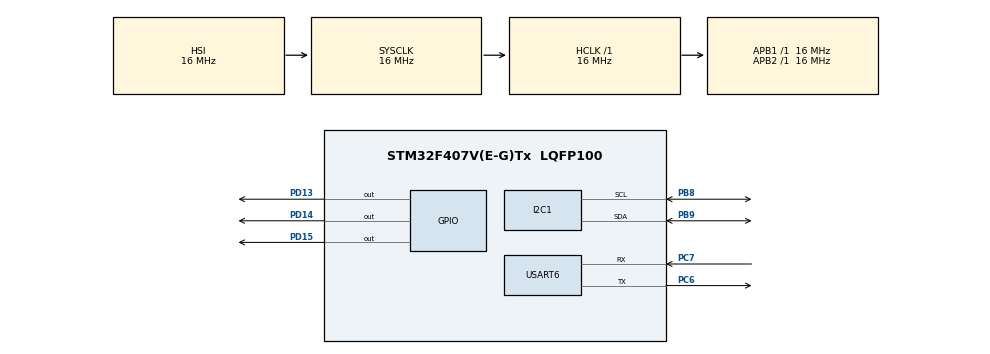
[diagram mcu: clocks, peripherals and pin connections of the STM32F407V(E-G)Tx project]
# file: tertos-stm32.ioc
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FREERTOS.Queues01=userInputQueue,16,uint16_t,0,Dynamic,NULL,NULL
FREERTOS.Tasks01=Task_UserInput,0,128,StartTaskUserInput,Default,NULL,Dynamic,NULL,NULL;Task_Game,0,512,StartTaskGame,Default,NULL,Dynamic,NULL,NULL
FREERTOS.configENABLE_BACKWARD_COMPATIBILITY=0
FREERTOS.configGENERATE_RUN_TIME_STATS=1
FREERTOS.configUSE_STATS_FORMATTING_FUNCTIONS=1
FREERTOS.configUSE_TRACE_FACILITY=1
Mcu.Family=STM32F4
Mcu.Name=STM32F407V(E-G)Tx
Mcu.Package=LQFP100
NVIC.PriorityGroup=NVIC_PRIORITYGROUP_4
NVIC.TIM1_UP_TIM10_IRQn=true\:0\:0\:false\:false\:true\:false\:false\:true\:true
NVIC.TimeBase=TIM1_UP_TIM10_IRQn
NVIC.TimeBaseIP=TIM1
PA13.Mode=JTAG_5_pins
PA13.Signal=SYS_JTMS-SWDIO
PA14.Mode=JTAG_5_pins
PA14.Signal=SYS_JTCK-SWCLK
PA15.Mode=JTAG_5_pins
PA15.Signal=SYS_JTDI
PB3.Mode=JTAG_5_pins
PB3.Signal=SYS_JTDO-SWO
PB4.Mode=JTAG_5_pins
PB4.Signal=SYS_JTRST
PB8.GPIO_Pu=GPIO_PULLUP
PB8.Mode=I2C
PB8.Signal=I2C1_SCL
PB9.GPIO_Pu=GPIO_PULLUP
PB9.Mode=I2C
PB9.Signal=I2C1_SDA
PC6.Mode=Asynchronous
PC6.Signal=USART6_TX
PC7.Mode=Asynchronous
PC7.Signal=USART6_RX
PD13.Signal=GPIO_Output
PD14.Signal=GPIO_Output
PD15.Signal=GPIO_Output
PH0-OSC_IN.Mode=HSE-External-Oscillator
PH0-OSC_IN.Signal=RCC_OSC_IN
PH1-OSC_OUT.Mode=HSE-External-Oscillator
PH1-OSC_OUT.Signal=RCC_OSC_OUT
ProjectManager.HeapSize=0x200
ProjectManager.StackSize=0x400
ProjectManager.TargetToolchain=CMake
RCC.AHBFreq_Value=16000000
RCC.APB1Freq_Value=16000000
RCC.APB2Freq_Value=16000000
RCC.CortexFreq_Value=16000000
RCC.HSE_VALUE=25000000
RCC.HSI_VALUE=16000000
RCC.LSE_VALUE=32768
RCC.SYSCLKFreq_VALUE=16000000
RCC.VCOOutputFreq_Value=192000000
USART6.VirtualMode=VM_ASYNC
VP_FREERTOS_VS_CMSIS_V1.Mode=CMSIS_V1
VP_SYS_VS_tim1.Mode=TIM1
board=custom

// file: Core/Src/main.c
/* USER CODE BEGIN Header */
/**
  ******************************************************************************
  * @file           : main.c
  * @brief          : Main program body
  ******************************************************************************
  * @attention
  *
  * Copyright (c) 2026 STMicroelectronics.
  * All rights reserved.
  *
  * This software is licensed under terms that can be found in the LICENSE file
  * in the root directory of this software component.
  * If no LICENSE file comes with this software, it is provided AS-IS.
  *
  ******************************************************************************
  */
/* USER CODE END Header */
#include "main.h"
#include "cmsis_os.h"
#include "i2c.h"
#include "usart.h"
#include "gpio.h"

void SystemClock_Config(void);
void MX_FREERTOS_Init(void);

int main(void)
{

  /* MCU Configuration--------------------------------------------------------*/

  /* Reset of all peripherals, Initializes the Flash interface and the Systick. */
  HAL_Init();

  /* Configure the system clock */
  SystemClock_Config();

  /* Initialize all configured peripherals */
  MX_GPIO_Init();
  MX_I2C1_Init();
  MX_USART6_UART_Init();

  /* Call init function for freertos objects (in cmsis_os2.c) */
  MX_FREERTOS_Init();

  /* Start scheduler */
  osKernelStart();

  /* We should never get here as control is now taken by the scheduler */

  /* Infinite loop */
  while (1)
  {

  }
}

void SystemClock_Config(void)
{
  RCC_OscInitTypeDef RCC_OscInitStruct = {0};
  RCC_ClkInitTypeDef RCC_ClkInitStruct = {0};

  /** Configure the main internal regulator output voltage
  */
  __HAL_RCC_PWR_CLK_ENABLE();
  __HAL_PWR_VOLTAGESCALING_CONFIG(PWR_REGULATOR_VOLTAGE_SCALE1);

  /** Initializes the RCC Oscillators according to the specified parameters
  * in the RCC_OscInitTypeDef structure.
  */
  RCC_OscInitStruct.OscillatorType = RCC_OSCILLATORTYPE_HSI;
  RCC_OscInitStruct.HSIState = RCC_HSI_ON;
  RCC_OscInitStruct.HSICalibrationValue = RCC_HSICALIBRATION_DEFAULT;
  RCC_OscInitStruct.PLL.PLLState = RCC_PLL_NONE;
  if (HAL_RCC_OscConfig(&RCC_OscInitStruct) != HAL_OK)
  {
    Error_Handler();
  }

  /** Initializes the CPU, AHB and APB buses clocks
  */
  RCC_ClkInitStruct.ClockType = RCC_CLOCKTYPE_HCLK|RCC_CLOCKTYPE_SYSCLK
                              |RCC_CLOCKTYPE_PCLK1|RCC_CLOCKTYPE_PCLK2;
  RCC_ClkInitStruct.SYSCLKSource = RCC_SYSCLKSOURCE_HSI;
  RCC_ClkInitStruct.AHBCLKDivider = RCC_SYSCLK_DIV1;
  RCC_ClkInitStruct.APB1CLKDivider = RCC_HCLK_DIV1;
  RCC_ClkInitStruct.APB2CLKDivider = RCC_HCLK_DIV1;

  if (HAL_RCC_ClockConfig(&RCC_ClkInitStruct, FLASH_LATENCY_0) != HAL_OK)
  {
    Error_Handler();
  }
}

void HAL_TIM_PeriodElapsedCallback(TIM_HandleTypeDef *htim)
{
  if (htim->Instance == TIM1)
  {
    HAL_IncTick();
  }
}

void Error_Handler(void)
{
  __disable_irq();
  while (1)
  {
  }
}

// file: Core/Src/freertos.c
/* USER CODE BEGIN Header */
/**
  ******************************************************************************
  * File Name          : freertos.c
  * Description        : Code for freertos applications
  ******************************************************************************
  * @attention
  *
  * Copyright (c) 2026 STMicroelectronics.
  * All rights reserved.
  *
  * This software is licensed under terms that can be found in the LICENSE file
  * in the root directory of this software component.
  * If no LICENSE file comes with this software, it is provided AS-IS.
  *
  ******************************************************************************
  */
/* USER CODE END Header */

#include "FreeRTOS.h"
#include "task.h"
#include "main.h"
#include "cmsis_os.h"

/* USER CODE BEGIN Includes */
#include "kb.h"
#include "queue.h"
#include "tetris_runtime.h"
#include "oled.h"
#include "i2c.h"
#include <stdlib.h>
/* USER CODE END Includes */

/* USER CODE BEGIN Variables */
static QueueHandle_t tetrisGameQueueHandle;
static TetrisGame tetrisGame;
/* USER CODE END Variables */
osThreadId Task_UserInputHandle;
osThreadId Task_GameHandle;
osThreadId Task_OLEDHandle;
osMessageQId userInputQueueHandle;

/* USER CODE BEGIN FunctionPrototypes */
static bool apply_button(enum Button key);
/* USER CODE END FunctionPrototypes */

void StartTaskUserInput(void const * argument);
void StartTaskGame(void const * argument);
void StartTaskOLED(void const * argument);

void MX_FREERTOS_Init(void); /* (MISRA C 2004 rule 8.1) */

/* GetIdleTaskMemory prototype (linked to static allocation support) */
void vApplicationGetIdleTaskMemory( StaticTask_t **ppxIdleTaskTCBBuffer, StackType_t **ppxIdleTaskStackBuffer, uint32_t *pulIdleTaskStackSize );

/* Hook prototypes */
void configureTimerForRunTimeStats(void);
unsigned long getRunTimeCounterValue(void);

/* USER CODE BEGIN 1 */
/* Functions needed when configGENERATE_RUN_TIME_STATS is on */
__weak void configureTimerForRunTimeStats(void)
{
}

__weak unsigned long getRunTimeCounterValue(void)
{
  return 0;
}
/* USER CODE END 1 */

/* USER CODE BEGIN GET_IDLE_TASK_MEMORY */
static StaticTask_t xIdleTaskTCBBuffer;
static StackType_t xIdleStack[configMINIMAL_STACK_SIZE];

void vApplicationGetIdleTaskMemory(StaticTask_t **ppxIdleTaskTCBBuffer, StackType_t **ppxIdleTaskStackBuffer, uint32_t *pulIdleTaskStackSize )
{
  *ppxIdleTaskTCBBuffer = &xIdleTaskTCBBuffer;
  *ppxIdleTaskStackBuffer = &xIdleStack[0];
  *pulIdleTaskStackSize = configMINIMAL_STACK_SIZE;
  /* place for user code */
}
/* USER CODE END GET_IDLE_TASK_MEMORY */

void MX_FREERTOS_Init(void) {

  /* USER CODE BEGIN RTOS_MUTEX */
  i2cMutexHandle = xSemaphoreCreateMutex();
  /* USER CODE END RTOS_MUTEX */

  /* Create the queue(s) */
  /* definition and creation of userInputQueue */
  osMessageQDef(userInputQueue, 16, uint16_t);
  userInputQueueHandle = osMessageCreate(osMessageQ(userInputQueue), NULL);

  /* USER CODE BEGIN RTOS_QUEUES */
  tetrisGameQueueHandle = xQueueCreate(1, sizeof(TetrisGame));
  /* USER CODE END RTOS_QUEUES */

  /* Create the thread(s) */
  /* definition and creation of Task_UserInput */
  osThreadDef(Task_UserInput, StartTaskUserInput, osPriorityNormal, 0, 128);
  Task_UserInputHandle = osThreadCreate(osThread(Task_UserInput), NULL);

  /* definition and creation of Task_Game */
  osThreadDef(Task_Game, StartTaskGame, osPriorityNormal, 0, 512);
  Task_GameHandle = osThreadCreate(osThread(Task_Game), NULL);

  /* definition and creation of Task_OLED */
  osThreadDef(Task_OLED, StartTaskOLED, osPriorityNormal, 0, 512);
  Task_OLEDHandle = osThreadCreate(osThread(Task_OLED), NULL);

}

void StartTaskUserInput(void const * argument)
{
  /* USER CODE BEGIN StartTaskUserInput */
  (void)argument;
  /* Infinite loop */
  while (1)
  {
    enum Button key = B_NONE;
    if (i2c_lock(pdMS_TO_TICKS(50)))
    {
      key = Get_Char();
      i2c_unlock();
    }
    if (key != B_NONE)
    {
      osMessagePut(userInputQueueHandle, key, 10);
    }
    osDelay(10);
  }
  /* USER CODE END StartTaskUserInput */
}

void StartTaskGame(void const * argument)
{
  /* USER CODE BEGIN StartTaskGame */
  (void)argument;
  srand(HAL_GetTick());
  tetris_init(&tetrisGame);
  xQueueOverwrite(tetrisGameQueueHandle, &tetrisGame);

  uint32_t previousTime = HAL_GetTick();
  while (1)
  {
    /* Wake for input or at least every 10 ms to advance gravity. */
    osEvent event = osMessageGet(userInputQueueHandle, 10);
    uint32_t now = HAL_GetTick();
    uint32_t elapsedMs = now - previousTime;
    previousTime = now;

    /* Account for elapsed time before applying the command received now. */
    bool changed = tetris_update(&tetrisGame, elapsedMs);
    if (event.status == osEventMessage)
    {
      changed = apply_button((enum Button)event.value.v) || changed;
    }
    if (changed)
    {
      xQueueOverwrite(tetrisGameQueueHandle, &tetrisGame);
    }
  }
  /* USER CODE END StartTaskGame */
}

/* USER CODE BEGIN Application */
static bool apply_button(enum Button key)
{
  switch (key)
  {
  case B_ROTATE:
    return tetris_command(&tetrisGame, TETRIS_CMD_ROTATE);
  case B_DOWN:
    return tetris_command(&tetrisGame, TETRIS_CMD_DOWN);
  case B_LEFT:
    return tetris_command(&tetrisGame, TETRIS_CMD_LEFT);
  case B_RIGHT:
    return tetris_command(&tetrisGame, TETRIS_CMD_RIGHT);
  case B_PAUSE:
    return tetris_command(&tetrisGame, TETRIS_CMD_PAUSE);
  default:
    return false;
  }
}

bool tetris_receive_game(TetrisGame *game, TickType_t wait_ticks)
{
  return xQueueReceive(tetrisGameQueueHandle, game, wait_ticks) == pdPASS;
}

/* USER CODE BEGIN Header_StartTaskOLED */
/**
* @brief Function implementing the Task_OLED thread.
* @param argument: Not used
* @retval None
*/
/* USER CODE END Header_StartTaskOLED */
void StartTaskOLED(void const * argument)
{
  /* USER CODE BEGIN StartTaskOLED */
  (void)argument;

  /* Initialize OLED display with mutex held */
  if (i2c_lock(portMAX_DELAY))
  {
    oled_Init();
    i2c_unlock();
  }

  TetrisGame game;

  while (1)
  {
    if (tetris_receive_game(&game, portMAX_DELAY))
    {
      tetris_render(&game);
      if (i2c_lock(portMAX_DELAY))
      {
        oled_UpdateScreen();
        i2c_unlock();
      }
    }
  }
  /* USER CODE END StartTaskOLED */
}
/* USER CODE END Application */
